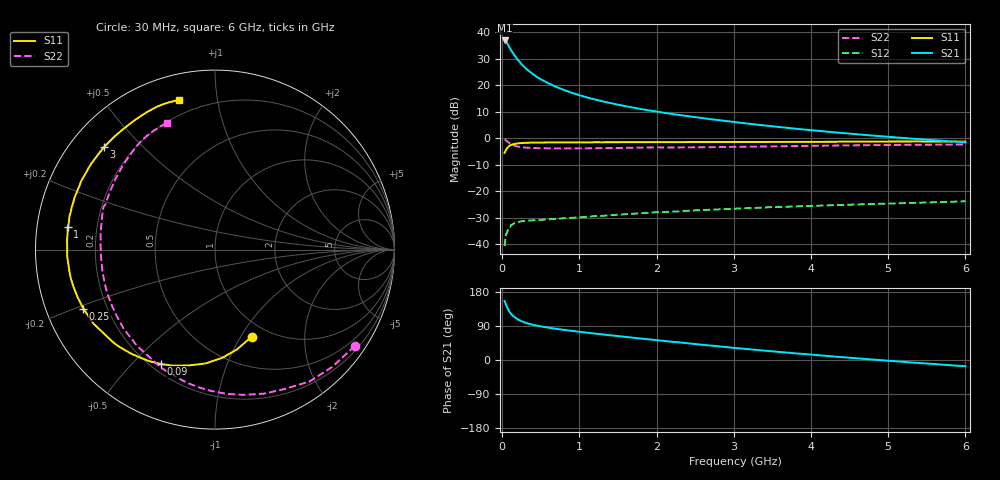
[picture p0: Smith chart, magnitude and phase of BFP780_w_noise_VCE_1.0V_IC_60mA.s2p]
! Infineon Technologies  Discrete & RF Semiconductors
! BFP780
! VCE =  1.0 V,  IC =  60 mA
! Common Emitter S-Parameters:  Jul 2015
# GHz  S  MA  R  50
!  f  S11  S21  S12  S22
! GHz  MAG  ANG  MAG  ANG  MAG  ANG  MAG  ANG
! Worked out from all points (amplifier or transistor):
!   75 points, 30 MHz to 6 GHz, reference 50 ohm
!   highest |S21| = 36.8 dB at 30 MHz (marker M1)
!   |S21| within 3 dB of that: start of sweep to 100.5 MHz
!   unconditionally stable (mu >= 1): 1.915 GHz to end of sweep
!   at 150 MHz: K = 0.14, MSG = 31.9 dB, |S12| = -32.2 dB
!   at 2.3 GHz: K = 1.11, MAG = 16.2 dB, |S12| = -27.7 dB
!   at 6 GHz: K = 1.54, MAG = 6.8 dB, |S12| = -23.9 dB
!   lowest NFmin = 1.52 dB at 450 MHz
!   S11 on the Smith chart (normalised r, x): 30 MHz: 0.83, -1.12; 90 MHz: 0.24, -0.61; 250 MHz: 0.11, -0.21; 1 GHz: 0.09, +0.07; 3 GHz: 0.10, +0.39; 6 GHz: 0.12, +0.78
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0.03  0.5263 -67.2  69.31 155.6  0.0091 74.6  0.9462 -34.5
0.04  0.5687 -77.4  67.89 150.0  0.0123 63.3  0.924 -45.1
0.05  0.6031 -85.9  65.75 144.8  0.0156 61.9  0.9039 -54.4
0.06  0.6365 -94.7  62.74 140.3  0.016 50.7  0.8683 -63.4
0.07  0.6604 -102.4  59.24 135.9  0.0183 48.5  0.8472 -71.4
0.09  0.7058 -115.4  52.29 128.4  0.0208 45.0  0.8066 -85.4
0.1  0.721 -120.4  49.22 125.4  0.0209 41.0  0.7885 -91.3
0.12  0.7441 -128.8  44.01 120.3  0.0232 35.9  0.758 -101.9
0.15  0.7677 -138.0  37.78 114.6  0.0245 32.3  0.7238 -114.3
0.2  0.7927 -148.6  30 107.4  0.0258 25.8  0.6905 -129.0
0.25  0.8038 -155.9  24.77 102.4  0.0269 23.2  0.6731 -139.2
0.35  0.8153 -165.3  18.09 95.5  0.0276 19.9  0.6527 -152.5
0.5  0.8207 -173.7  12.82 88.7  0.0286 17.9  0.6411 -164.0
0.7  0.8233 179.1  9.174 82.2  0.03 17.9  0.636 -173.3
1  0.8295 171.4  6.421 74.4  0.0318 19.1  0.6388 177.7
1.1  0.828 169.2  5.822 72.0  0.0327 19.4  0.6389 175.2
2.1  0.8371 151.5  2.989 50.3  0.0399 19.8  0.6607 157.7
3  0.8414 137.4  2.009 32.0  0.0462 17.3  0.6808 143.9
3.1  0.8412 136.1  1.929 30.2  0.0471 17.0  0.6836 142.5
4.1  0.8477 122.4  1.363 12.5  0.0529 12.7  0.7137 130.2
5.1  0.8594 111.5  1.027 -3.4  0.0583 8.1  0.7402 119.8
6  0.8572 103.7  0.828 -16.5  0.0641 3.4  0.7553 110.7
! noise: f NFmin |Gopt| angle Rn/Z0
0.45  1.52  0.42  178  0.07
0.9  1.57  0.46  -170  0.08
1.5  1.63  0.48  -162  0.08
1.8  1.8  0.49  -154  0.09
2.4  1.92  0.5  -147  0.13
3  2.2  0.51  -138  0.18
3.5  2.67  0.56  -122  0.29
